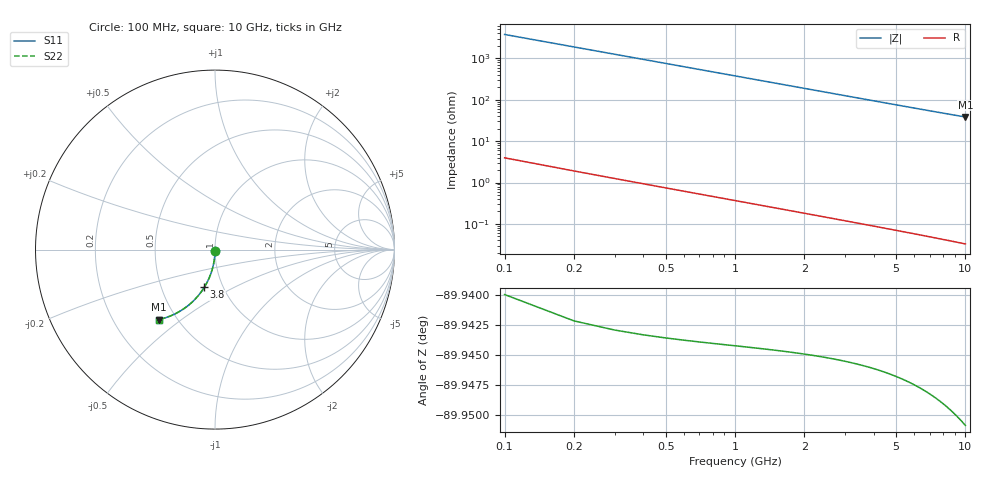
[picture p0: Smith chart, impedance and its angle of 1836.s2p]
# Hz S RI R 50.00
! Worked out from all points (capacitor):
!   100 points, 100 MHz to 10 GHz, reference 50 ohm
!   read as one part in shunt: C = 422 fF near 100 MHz
!   lowest |Z| = 38.3 ohm at 10 GHz (marker M1)
!   S11 on the Smith chart (normalised r, x): 100 MHz: 1.00, -0.01; 3.8 GHz: 0.82, -0.36; 10 GHz: 0.40, -0.41
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1e8  0.000112 -0.0059  0.9998 -0.00737  0.9998 -0.00737  0.000112 -0.0059
2e8  -2.34e-05 -0.0118  0.9996 -0.0147  0.9996 -0.0147  -2.34e-05 -0.0118
3e8  -0.000246 -0.0177  0.9994 -0.0221  0.9994 -0.0221  -0.000246 -0.0177
4e8  -0.000556 -0.0236  0.9991 -0.0295  0.9991 -0.0295  -0.000556 -0.0236
5e8  -0.000953 -0.0295  0.9987 -0.0368  0.9987 -0.0368  -0.000953 -0.0295
6e8  -0.00144 -0.0353  0.9982 -0.0442  0.9982 -0.0442  -0.00144 -0.0353
7e8  -0.00201 -0.0412  0.9976 -0.0515  0.9976 -0.0515  -0.00201 -0.0412
8e8  -0.00266 -0.0471  0.9969 -0.0589  0.9969 -0.0589  -0.00266 -0.0471
9e8  -0.00341 -0.0529  0.9962 -0.0662  0.9962 -0.0662  -0.00341 -0.0529
1.1e9  -0.00515 -0.0646  0.9944 -0.0808  0.9944 -0.0808  -0.00515 -0.0646
1.4e9  -0.0084 -0.0819  0.991 -0.1026  0.991 -0.1026  -0.0084 -0.0819
1.8e9  -0.0139 -0.1047  0.9854 -0.1313  0.9854 -0.1313  -0.0139 -0.1047
2.1e9  -0.0189 -0.1216  0.9803 -0.1526  0.9803 -0.1526  -0.0189 -0.1216
2.5e9  -0.0267 -0.1436  0.9723 -0.1806  0.9723 -0.1806  -0.0267 -0.1436
2.9e9  -0.0356 -0.165  0.9631 -0.2079  0.9631 -0.2079  -0.0356 -0.165
3.4e9  -0.0485 -0.1908  0.9499 -0.2412  0.9499 -0.2412  -0.0485 -0.1908
3.8e9  -0.06 -0.2105  0.9381 -0.267  0.9381 -0.267  -0.06 -0.2105
4.4e9  -0.0791 -0.2386  0.9184 -0.304  0.9184 -0.304  -0.0791 -0.2386
5.1e9  -0.1038 -0.2686  0.8929 -0.3447  0.8929 -0.3447  -0.1038 -0.2686
6.7e9  -0.168 -0.3255  0.8265 -0.4261  0.8265 -0.4261  -0.168 -0.3255
8.4e9  -0.2429 -0.3673  0.7486 -0.4944  0.7486 -0.4944  -0.2429 -0.3673
1e10  -0.3148 -0.39  0.6731 -0.5425  0.6731 -0.5425  -0.3148 -0.39
